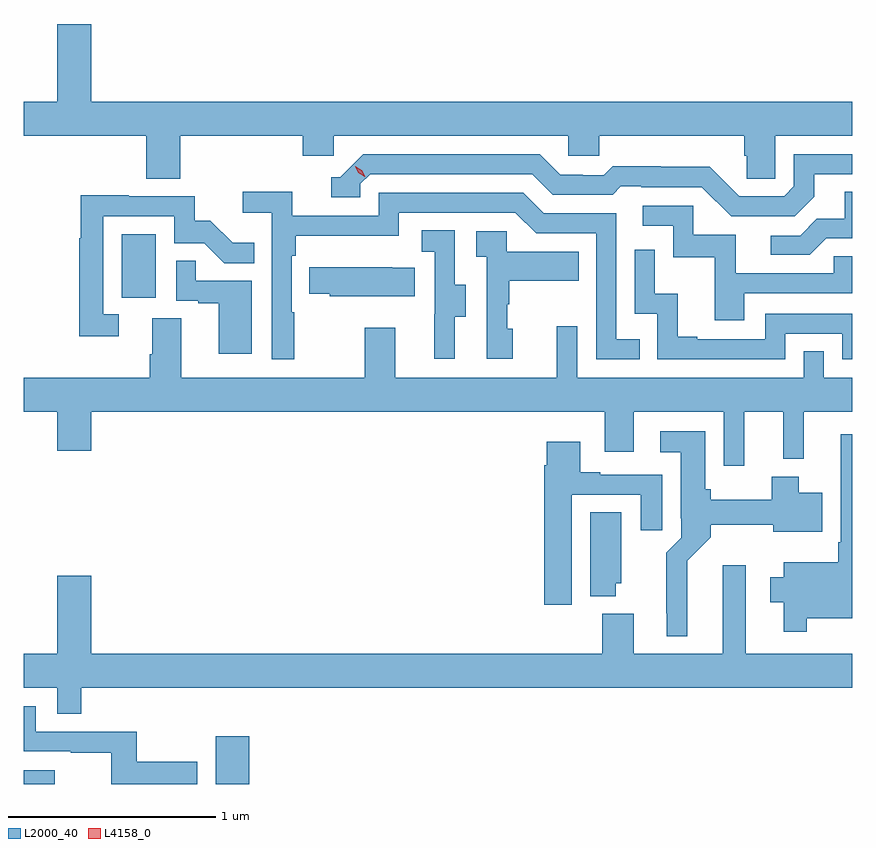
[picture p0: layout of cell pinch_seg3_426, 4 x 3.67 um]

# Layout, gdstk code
import gdstk
lib = gdstk.Library(unit=1e-6, precision=1e-09)
def R(c, l, rs):  # rectangles x0, y0, x1, y1
    for r in rs: c.add(gdstk.rectangle(r[:2], r[2:], *l))
def P(c, l, *ps):  # polygons
    for p in ps: c.add(gdstk.Polygon(p, *l))
L2000_40 = (2000, 40)
L4158_0 = (4158, 0)

pinch_seg3_426 = lib.new_cell('pinch_seg3_426')
R(pinch_seg3_426, L2000_40, [(908.102,700.451,908.252,700.518), (909.029,700.451,909.19,700.681), (908.576,702.798,908.74,703.105)])
P(pinch_seg3_426, L2000_40, [(908.858,703.58),(909.449,703.58),(909.449,703.482),(909.6,703.482),(909.6,703.58),(910.731,703.58),(910.731,703.482),(910.881,703.482),(910.881,703.58),(911.579,703.58),(911.579,703.482),(911.593,703.482),(911.593,703.372),(911.73,703.372),(911.73,703.58),(912.102,703.58),(912.102,703.744),(908.428,703.744),(908.428,704.119),(908.264,704.119),(908.264,703.744),(908.102,703.744),(908.102,703.58),(908.693,703.58),(908.693,703.372),(908.858,703.372)],
  [(911.917,703.285),(911.917,703.395),(912.102,703.395),(912.102,703.491),(911.82,703.491),(911.82,703.335),(911.772,703.287),(911.556,703.287),(911.414,703.429),(911.178,703.429),(911.178,703.432),(910.945,703.432),(910.903,703.389),(910.8,703.389),(910.8,703.392),(910.693,703.392),(910.594,703.491),(909.741,703.491),(909.63,703.38),(909.587,703.38),(909.587,703.284),(909.726,703.284),(909.726,703.347),(909.774,703.395),(910.557,703.395),(910.656,703.296),(910.945,703.296),(910.984,703.335),(911.083,703.335),(911.083,703.332),(911.376,703.332),(911.517,703.191),(911.823,703.191)],
  [(911.977,703.086),(912.102,703.086),(912.102,703.31),(912.065,703.31),(912.065,703.178),(911.93,703.178),(911.85,703.098),(911.709,703.098),(911.709,703.005),(911.896,703.005)],
  [(909.409,702.728),(909.396,702.728),(909.396,703.001),(909.416,703.001),(909.416,703.097),(909.912,703.097),(909.912,703.209),(910.476,703.209),(910.575,703.11),(910.866,703.11),(910.866,702.501),(911.075,702.501),(911.075,702.597),(910.962,702.597),(910.962,703.206),(910.612,703.206),(910.513,703.305),(909.816,703.305),(909.816,703.194),(909.398,703.194),(909.398,703.31),(909.159,703.31),(909.159,703.208),(909.3,703.208),(909.3,702.501),(909.409,702.501)],
  [(908.56,702.717),(908.487,702.717),(908.487,703.191),(908.829,703.191),(908.829,703.062),(908.973,703.062),(909.071,702.964),(909.215,702.964),(909.215,703.063),(909.111,703.063),(909.004,703.17),(908.928,703.17),(908.928,703.287),(908.609,703.287),(908.609,703.292),(908.379,703.292),(908.379,703.084),(908.371,703.084),(908.371,702.612),(908.56,702.612)],
  [(911.581,702.819),(912.102,702.819),(912.102,702.999),(912.013,702.999),(912.013,702.915),(911.539,702.915),(911.539,703.101),(911.334,703.101),(911.334,703.242),(911.091,703.242),(911.091,703.146),(911.238,703.146),(911.238,702.993),(911.437,702.993),(911.437,702.69),(911.581,702.69)],
  [(910.183,702.706),(910.237,702.706),(910.237,702.861),(910.182,702.861),(910.182,703.124),(910.023,703.124),(910.023,703.021),(910.086,703.021),(910.086,702.717),(910.085,702.717),(910.085,702.504),(910.183,702.504)],
  [(910.462,702.648),(910.437,702.648),(910.437,702.767),(910.447,702.767),(910.447,702.881),(910.781,702.881),(910.781,703.021),(910.434,703.021),(910.434,703.119),(910.287,703.119),(910.287,702.995),(910.338,702.995),(910.338,702.504),(910.462,702.504)],
  [(911.778,702.624),(912.054,702.624),(912.054,702.501),(912.102,702.501),(912.102,702.72),(911.682,702.72),(911.682,702.597),(911.353,702.597),(911.353,702.61),(911.258,702.61),(911.258,702.818),(911.148,702.818),(911.148,703.03),(911.052,703.03),(911.052,702.72),(911.16,702.72),(911.16,702.501),(911.778,702.501)],
  [(909.202,702.879),(908.933,702.879),(908.933,702.977),(908.838,702.977),(908.838,702.783),(908.945,702.783),(908.945,702.771),(909.044,702.771),(909.044,702.528),(909.202,702.528)],
  [(909.989,702.943),(909.881,702.943),(909.881,702.946),(909.481,702.946),(909.481,702.817),(909.579,702.817),(909.579,702.806),(909.989,702.806)],
  [(911.579,702.248),(911.768,702.248),(911.768,702.02),(911.867,702.02),(911.867,702.248),(912.102,702.248),(912.102,702.412),(911.964,702.412),(911.964,702.539),(911.868,702.539),(911.868,702.412),(910.773,702.412),(910.773,702.661),(910.676,702.661),(910.676,702.412),(909.895,702.412),(909.895,702.652),(909.748,702.652),(909.748,702.412),(908.863,702.412),(908.863,702.698),(908.723,702.698),(908.723,702.524),(908.711,702.524),(908.711,702.412),(908.102,702.412),(908.102,702.248),(908.264,702.248),(908.264,702.06),(908.428,702.06),(908.428,702.248),(910.907,702.248),(910.907,702.054),(911.047,702.054),(911.047,702.248),(911.481,702.248),(911.481,701.988),(911.579,701.988)],
  [(911.305,701.528),(911.418,701.641),(911.418,701.702),(911.72,701.702),(911.72,701.669),(911.956,701.669),(911.956,701.857),(911.842,701.857),(911.842,701.935),(911.713,701.935),(911.713,701.824),(911.418,701.824),(911.418,701.874),(911.392,701.874),(911.392,702.154),(911.175,702.154),(911.175,702.053),(911.273,702.053),(911.273,701.734),(911.277,701.734),(911.277,701.64),(911.203,701.566),(911.203,701.275),(911.207,701.275),(911.207,701.165),(911.305,701.165)],
  [(911.881,701.252),(912.102,701.252),(912.102,702.139),(912.045,702.139),(912.045,701.617),(912.033,701.617),(912.033,701.521),(911.771,701.521),(911.771,701.449),(911.705,701.449),(911.705,701.327),(911.771,701.327),(911.771,701.187),(911.881,701.187)],
  [(910.747,701.847),(911.081,701.847),(911.081,701.676),(911.185,701.676),(911.185,701.943),(910.885,701.943),(910.885,701.956),(910.789,701.956),(910.789,702.103),(910.628,702.103),(910.628,701.99),(910.616,701.99),(910.616,701.316),(910.747,701.316)],
  [(910.96,701.421),(910.987,701.421),(910.987,701.762),(910.838,701.762),(910.838,701.357),(910.96,701.357)],
  [(908.381,700.916),(912.102,700.916),(912.102,701.08),(911.587,701.08),(911.587,701.506),(911.477,701.506),(911.477,701.08),(911.047,701.08),(911.047,701.272),(910.895,701.272),(910.895,701.08),(908.428,701.08),(908.428,701.455),(908.264,701.455),(908.264,701.08),(908.102,701.08),(908.102,700.916),(908.265,700.916),(908.265,700.789),(908.381,700.789)],
  [(908.94,700.558),(908.647,700.558),(908.647,700.704),(908.16,700.704),(908.16,700.827),(908.102,700.827),(908.102,700.608),(908.329,700.608),(908.329,700.603),(908.526,700.603),(908.526,700.451),(908.94,700.451)])
P(pinch_seg3_426, L4158_0, [(909.749,703.381),(909.718,703.4),(909.702,703.432),(909.702,703.432),(909.702,703.432),(909.733,703.413),(909.75,703.381),(909.75,703.381)])

lib.write_gds('pinch_seg3_426.gds')
